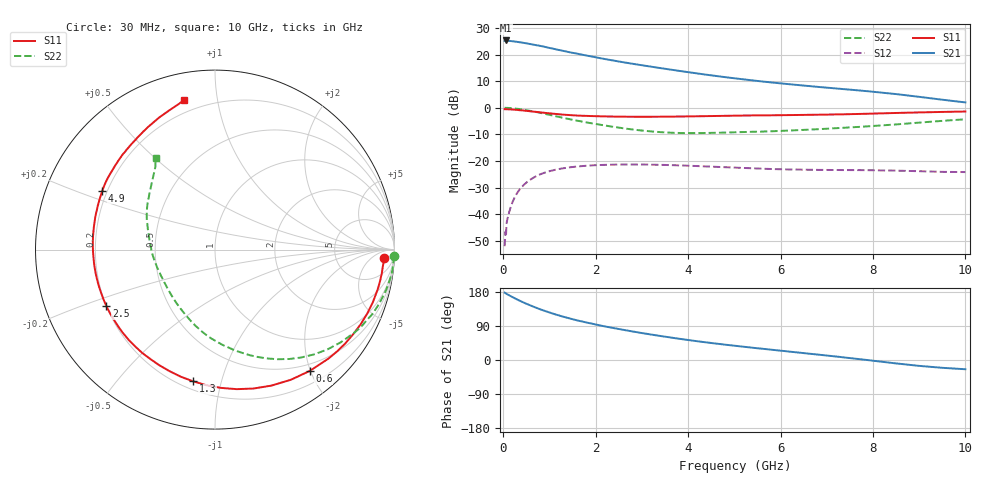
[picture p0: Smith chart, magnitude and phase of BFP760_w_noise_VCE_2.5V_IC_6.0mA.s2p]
! Infineon Technologies  Discrete & RF Semiconductors
! BFP760
! VCE =  2.5 V,  IC =  6.0 mA
! Common Emitter S-Parameters:  Nov 2012
# GHz  S  MA  R  50
!  f  S11  S21  S12  S22
! GHz  MAG  ANG  MAG  ANG  MAG  ANG  MAG  ANG
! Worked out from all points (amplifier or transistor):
!   99 points, 30 MHz to 10 GHz, reference 50 ohm
!   highest |S21| = 25.3 dB at 50 MHz (marker M1)
!   |S21| within 3 dB of that: start of sweep to 1.052 GHz
!   unconditionally stable (mu >= 1): 5.997 GHz to end of sweep
!   at 350 MHz: K = 0.09, MSG = 27.7 dB, |S12| = -30.8 dB
!   at 3.5 GHz: K = 0.53, MSG = 18.1 dB, |S12| = -21.5 dB
!   at 10 GHz: K = 1.28, MAG = 9.9 dB, |S12| = -24.2 dB
!   lowest NFmin = 0.43 dB at 900 MHz
!   S11 on the Smith chart (normalised r, x): 30 MHz: 20, -17; 600 MHz: 0.39, -1.98; 1.3 GHz: 0.25, -0.82; 2.5 GHz: 0.20, -0.24; 4.9 GHz: 0.18, +0.24; 10 GHz: 0.13, +0.81
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0.03  0.9426 -2.9  18.18 177.7  0.0025 86.0  0.999 -2.1
0.05  0.9411 -4.6  18.45 176.0  0.0047 87.4  0.9972 -3.2
0.2  0.9271 -18.4  17.82 166.1  0.0168 78.7  0.9799 -13.1
0.35  0.9028 -31.5  17.1 156.8  0.0288 71.1  0.9475 -22.3
0.45  0.8855 -39.9  16.56 151.1  0.0358 66.3  0.9198 -28.1
0.6  0.8575 -52.1  15.7 143.4  0.0454 59.5  0.8705 -36.4
0.8  0.8203 -67.5  14.59 133.8  0.0561 51.4  0.8043 -46.5
0.9  0.8032 -74.5  13.98 129.5  0.0604 47.6  0.7692 -51.4
1.1  0.7711 -87.6  12.8 121.4  0.0675 40.9  0.7038 -60.2
1.3  0.7437 -99.5  11.74 114.2  0.0729 35.1  0.6454 -68.1
1.5  0.7231 -110.5  10.81 107.7  0.077 30.2  0.5946 -75.3
1.7  0.7082 -120.5  9.991 101.8  0.08 26.0  0.5508 -82.1
2.1  0.692 -137.9  8.564 91.1  0.084 18.3  0.4799 -95.5
2.5  0.6822 -152.4  7.427 81.8  0.0856 12.3  0.4244 -107.6
3  0.678 -168.3  6.311 71.1  0.0857 6.1  0.3734 -123.1
3.4  0.6798 -179.3  5.579 63.4  0.0845 2.1  0.3487 -135.3
4.2  0.6927 163.2  4.421 49.5  0.0802 -4.0  0.3341 -157.3
4.9  0.7083 152.3  3.68 39.1  0.0758 -7.1  0.3441 -171.2
5.1  0.7128 149.8  3.506 36.4  0.0745 -7.6  0.3481 -174.5
6.7  0.7393 133.7  2.522 15.7  0.0683 -8.2  0.3915 163.0
8.5  0.7991 112.9  1.81 -9.0  0.0658 -9.5  0.4866 138.2
10  0.8513 101.7  1.261 -24.4  0.0618 -7.1  0.6085 122.9
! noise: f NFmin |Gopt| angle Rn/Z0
0.9  0.43  0.36  26  0.11
1.8  0.51  0.31  54  0.1
2.4  0.6  0.27  76  0.09
3.5  0.77  0.22  111  0.08
5.5  0.98  0.33  -152  0.08
8  1.52  0.45  -100  0.25
